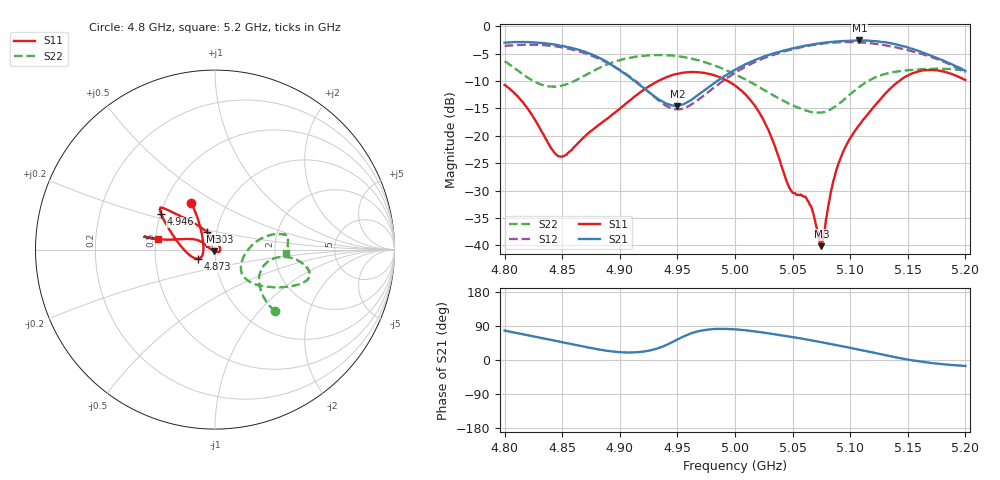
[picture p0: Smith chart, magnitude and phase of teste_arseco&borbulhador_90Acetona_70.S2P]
! Network Analyzer HP8722D
! Hewlett-Packard
! Data name: Linha & Wilkinson
! Saver's name: Rodrigo Anjos
! Comments: Teste da utilização de aquisição
! continua pelo VNA HP8722D
! Time and date: 17/4/2025 11:38
!  Frequency  S11  S21  S12  S22
# HZ  S  MA R 50
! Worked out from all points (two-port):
!   401 points, 4.8 GHz to 5.2 GHz, reference 50 ohm
!   highest |S21| = -2.58 dB at 5.108 GHz (marker M1); lowest = -14.5 dB at 4.95 GHz (marker M2)
!   |S21| within 3 dB of the highest: start of sweep to 4.881 GHz; 5.024 GHz to 5.173 GHz (148.3 MHz wide, 2.91 % of centre)
!   lowest |S11| = -40.1 dB at 5.075 GHz (marker M3), VSWR 1.02, Z = 49.5 - j0.838 ohm
!   |S11| at or under -10 dB: start of sweep to 4.933 GHz; 4.994 GHz to 5.143 GHz (148.6 MHz wide, 2.93 % of centre)
!   |S22| runs from -15.8 to -5.2 dB; largest |S21 - S12| = 1
!   S11 on the Smith chart (normalised r, x): 4.8 GHz: 0.68, +0.38; 4.873 GHz: 0.82, -0.08; 4.946 GHz: 0.50, +0.23; 5.03 GHz: 0.90, +0.18; 5.2 GHz: 0.51, +0.07
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4.8e9  0.2917 117.0  0.7089 77.5  0.6621 -16.1  0.4792 -45.8
4.818e9  0.1892 119.7  0.7176 66.7  0.6785 -23.9  0.3518 -42.6
4.846e9  0.06593 167.6  0.6738 49.6  0.6531 -37.3  0.2833 -20.6
4.867e9  0.09317 -150.4  0.5972 36.5  0.5817 -48.2  0.3431 -7.5
4.873e9  0.1065 -151.5  0.5682 32.8  0.5506 -51.1  0.371 -6.4
4.903e9  0.1877 175.1  0.3776 20.3  0.3818 -63.1  0.5004 -9.4
4.934e9  0.3195 151.0  0.2145 31.8  0.2097 -55.9  0.5466 -15.9
4.946e9  0.3592 146.6  0.1892 47.8  0.1768 -39.5  0.5411 -18.5
4.95e9  0.3687 145.4  0.1879 54.2  0.1746 -32.8  0.5347 -19.3
4.975e9  0.3727 141.4  0.268 79.7  0.2428 -2.4  0.4654 -26.2
5e9  0.2887 137.2  0.3997 80.8  0.3773 3.5  0.3645 -34.6
5.017e9  0.1899 128.4  0.4917 75.5  0.4709 0.3  0.2945 -40.8
5.03e9  0.1065 113.9  0.5499 70.0  0.5341 -3.9  0.2446 -43.4
5.048e9  0.03252 45.9  0.62 61.5  0.61 -11.0  0.1938 -40.7
5.061e9  0.02787 -21.2  0.666 54.6  0.6572 -17.0  0.171 -32.2
5.067e9  0.02116 -41.9  0.6841 51.5  0.6759 -20.2  0.1642 -26.4
5.075e9  0.009842 -120.7  0.7037 46.9  0.6936 -24.7  0.1632 -16.0
5.089e9  0.0526 155.3  0.7273 38.7  0.714 -33.2  0.192 2.5
5.108e9  0.1264 153.1  0.7428 27.1  0.7152 -45.6  0.2803 14.1
5.134e9  0.2646 167.9  0.7033 10.6  0.6598 -61.3  0.3759 13.2
5.163e9  0.3962 169.6  0.575 -5.0  0.556 -74.5  0.4062 11.1
5.2e9  0.3233 169.4  0.391 -15.7  0.3786 -84.3  0.3951 -2.5
